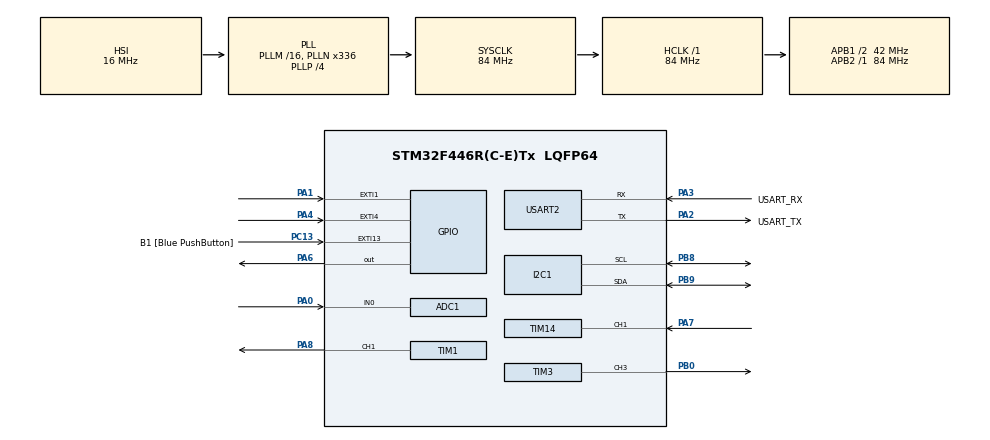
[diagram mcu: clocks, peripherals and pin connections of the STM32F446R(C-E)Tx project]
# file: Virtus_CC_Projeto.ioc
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ADC1.Channel-0\#ChannelRegularConversion=ADC_CHANNEL_0
ADC1.ClockPrescaler=ADC_CLOCK_SYNC_PCLK_DIV8
ADC1.ContinuousConvMode=ENABLE
ADC1.DMAContinuousRequests=ENABLE
ADC1.EOCSelection=ADC_EOC_SEQ_CONV
ADC1.NbrOfConversionFlag=1
ADC1.Rank-0\#ChannelRegularConversion=1
ADC1.SamplingTime-0\#ChannelRegularConversion=ADC_SAMPLETIME_3CYCLES
ADC1.ScanConvMode=ENABLE
ADC1.master=1
Dma.ADC1.0.Direction=DMA_PERIPH_TO_MEMORY
Dma.ADC1.0.FIFOMode=DMA_FIFOMODE_DISABLE
Dma.ADC1.0.Instance=DMA2_Stream0
Dma.ADC1.0.MemDataAlignment=DMA_MDATAALIGN_HALFWORD
Dma.ADC1.0.MemInc=DMA_MINC_ENABLE
Dma.ADC1.0.Mode=DMA_CIRCULAR
Dma.ADC1.0.PeriphDataAlignment=DMA_PDATAALIGN_HALFWORD
Dma.ADC1.0.PeriphInc=DMA_PINC_DISABLE
Dma.ADC1.0.Priority=DMA_PRIORITY_LOW
Dma.Request0=ADC1
I2C1.I2C_Mode=I2C_Fast
Mcu.Family=STM32F4
Mcu.Name=STM32F446R(C-E)Tx
Mcu.Package=LQFP64
NVIC.EXTI1_IRQn=true\:0\:0\:false\:false\:true\:true\:true\:true
NVIC.EXTI4_IRQn=true\:0\:0\:false\:false\:true\:true\:true\:true
NVIC.PriorityGroup=NVIC_PRIORITYGROUP_0
NVIC.TIM8_TRG_COM_TIM14_IRQn=true\:0\:0\:false\:false\:true\:true\:true\:true
PA0-WKUP.Signal=ADCx_IN0
PA1.GPIO_ModeDefaultEXTI=GPIO_MODE_IT_FALLING
PA1.GPIO_PuPd=GPIO_PULLUP
PA1.Signal=GPXTI1
PA13.GPIO_Label=TMS
PA13.Mode=Serial_Wire
PA13.Signal=SYS_JTMS-SWDIO
PA14.GPIO_Label=TCK
PA14.Mode=Serial_Wire
PA14.Signal=SYS_JTCK-SWCLK
PA2.GPIO_Label=USART_TX
PA2.Mode=Asynchronous
PA2.Signal=USART2_TX
PA3.GPIO_Label=USART_RX
PA3.Mode=Asynchronous
PA3.Signal=USART2_RX
PA4.GPIO_ModeDefaultEXTI=GPIO_MODE_IT_FALLING
PA4.GPIO_PuPd=GPIO_PULLUP
PA4.Signal=GPXTI4
PA6.Signal=GPIO_Output
PA7.Signal=S_TIM14_CH1
PA8.Signal=S_TIM1_CH1
PB0.Signal=S_TIM3_CH3
PB3.GPIO_Label=SWO
PB3.Signal=SYS_JTDO-SWO
PB8.Mode=I2C
PB8.Signal=I2C1_SCL
PB9.Mode=I2C
PB9.Signal=I2C1_SDA
PC13.GPIO_Label=B1 [Blue PushButton]
PC13.GPIO_ModeDefaultEXTI=GPIO_MODE_IT_FALLING
PC13.Signal=GPXTI13
PC14-OSC32_IN.Mode=LSE-External-Oscillator
PC14-OSC32_IN.Signal=RCC_OSC32_IN
PC15-OSC32_OUT.Mode=LSE-External-Oscillator
PC15-OSC32_OUT.Signal=RCC_OSC32_OUT
PH0-OSC_IN.Mode=HSE-External-Oscillator
PH0-OSC_IN.Signal=RCC_OSC_IN
PH1-OSC_OUT.Mode=HSE-External-Oscillator
PH1-OSC_OUT.Signal=RCC_OSC_OUT
ProjectManager.HeapSize=0x200
ProjectManager.StackSize=0x400
ProjectManager.TargetToolchain=STM32CubeIDE
RCC.48MHZClocksFreq_Value=84000000
RCC.AHBFreq_Value=84000000
RCC.APB1CLKDivider=RCC_HCLK_DIV2
RCC.APB1Freq_Value=42000000
RCC.APB1TimFreq_Value=84000000
RCC.APB2Freq_Value=84000000
RCC.APB2TimFreq_Value=84000000
RCC.CortexFreq_Value=84000000
RCC.FLatency-AdvancedSettings=FLASH_LATENCY_2
RCC.HCLKFreq_Value=84000000
RCC.HSE_VALUE=8000000
RCC.HSI_VALUE=16000000
RCC.PLLN=336
RCC.PLLP=RCC_PLLP_DIV4
RCC.SYSCLKFreq_VALUE=84000000
RCC.SYSCLKSource=RCC_SYSCLKSOURCE_PLLCLK
RCC.USBFreq_Value=168000000
RCC.VCOOutputFreq_Value=336000000
SH.ADCx_IN0.0=ADC1_IN0,IN0
SH.S_TIM14_CH1.0=TIM14_CH1,Input_Capture1_from_TI1
SH.S_TIM1_CH1.0=TIM1_CH1,PWM Generation1 CH1
SH.S_TIM3_CH3.0=TIM3_CH3,PWM Generation3 CH3
TIM1.Channel-PWM\ Generation1\ CH1=TIM_CHANNEL_1
TIM1.Period=20000
TIM1.Prescaler=84
TIM1.Pulse-PWM\ Generation1\ CH1=1000
TIM14.Channel=TIM_CHANNEL_1
TIM14.Prescaler=72
TIM3.Channel-PWM\ Generation3\ CH3=TIM_CHANNEL_3
TIM3.Period=65535
TIM3.Prescaler=127
USART2.VirtualMode=VM_ASYNC
VP_TIM14_VS_ClockSourceINT.Mode=Enable_Timer
VP_TIM3_VS_ClockSourceINT.Mode=Internal
board=NUCLEO-F446RE

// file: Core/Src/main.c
/* USER CODE BEGIN Header */
/**
  ******************************************************************************
  * @file           : main.c
  * @brief          : Main program body
  ******************************************************************************
  * @attention
  *
  * Copyright (c) 2024 STMicroelectronics.
  * All rights reserved.
  *
  * This software is licensed under terms that can be found in the LICENSE file
  * in the root directory of this software component.
  * If no LICENSE file comes with this software, it is provided AS-IS.
  *
  ******************************************************************************
  */
/* USER CODE END Header */
#include "main.h"

/* USER CODE BEGIN Includes */
#include <string.h>
#include <stdio.h>
#include <math.h>
#include <mpu6050.h>
#include <stdbool.h>
#include "stm32f4xx_hal.h"
#include "bmp280.h"
#include "fonts.h"
#include "ssd1306.h"

/* USER CODE END Includes */

/* USER CODE BEGIN PD */
#define TRIG_PIN GPIO_PIN_6
#define TRIG_PORT GPIOA
#define BMP280_ADDRESS 0x76
#define TSL2561_ADDR 0x39
/* USER CODE END PD */

ADC_HandleTypeDef hadc1;
DMA_HandleTypeDef hdma_adc1;

I2C_HandleTypeDef hi2c1;

TIM_HandleTypeDef htim1;
TIM_HandleTypeDef htim3;
TIM_HandleTypeDef htim14;

UART_HandleTypeDef huart2;

/* USER CODE BEGIN PV */
BMP280_HandleTypedef bmp280;
float altitudeBMP280 ,pressureBMP280, temperatureBMP280, humidityBMP280;

MPU6050_t MPU6050;
BMP280_HandleTypedef bmp280;
uint32_t IC_Val1 = 0;
uint32_t IC_Val2 = 0;
uint32_t Difference = 0;
uint8_t Is_First_Captured = 0;
uint16_t Distance  = 0;

uint16_t size;
char Data[50];
char Data1[20];
char Data2[20];

uint16_t adc_buffer[5] = {0};
float minus_temperature = 0;

uint8_t buttons = 0;
float minus_pressure = 0;
int adc_val = 0;

/* USER CODE END PV */

void SystemClock_Config(void);
static void MX_GPIO_Init(void);
static void MX_DMA_Init(void);
static void MX_USART2_UART_Init(void);
static void MX_I2C1_Init(void);
static void MX_TIM3_Init(void);
static void MX_TIM1_Init(void);
static void MX_TIM14_Init(void);
static void MX_ADC1_Init(void);
/* USER CODE BEGIN PFP */

void HCSR04_Read (void);
void modules_init(void);
void lcd_write_mpu(void);
void lcd_write_bmp(void);
void buzzer(uint16_t duty);
void servo_motor(uint16_t step);

/* USER CODE END PFP */

int main(void)
{

  /* MCU Configuration--------------------------------------------------------*/

  /* Reset of all peripherals, Initializes the Flash interface and the Systick. */
  HAL_Init();

  /* Configure the system clock */
  SystemClock_Config();

  /* Initialize all configured peripherals */
  MX_GPIO_Init();
  MX_DMA_Init();
  MX_USART2_UART_Init();
  MX_I2C1_Init();
  MX_TIM3_Init();
  MX_TIM1_Init();
  MX_TIM14_Init();
  MX_ADC1_Init();
  /* USER CODE BEGIN 2 */
  modules_init();

  /* USER CODE END 2 */

  /* Infinite loop */
  while (1)
  {

    /* USER CODE BEGIN 3 */

    bmp280_read_float(&bmp280, &temperatureBMP280, &pressureBMP280, &humidityBMP280 , &altitudeBMP280);
    MPU6050_Read_All(&hi2c1, &MPU6050);
    HCSR04_Read();

    if (buttons)
      lcd_write_mpu();
    else
      lcd_write_bmp();

    servo_motor(460 + 2140 * (pressureBMP280 + minus_pressure));

    if (Distance < 100)
      buzzer(Distance);
    else
      buzzer(0);

    adc_val = 0;
    for(int i = 0; i < 5; i++)
      adc_val += adc_buffer[i];
    adc_val /= 5;
    minus_temperature = (adc_val - 2050) / 400.0;
  }
  /* USER CODE END 3 */
}

void SystemClock_Config(void)
{
  RCC_OscInitTypeDef RCC_OscInitStruct = {0};
  RCC_ClkInitTypeDef RCC_ClkInitStruct = {0};

  /** Configure the main internal regulator output voltage
  */
  __HAL_RCC_PWR_CLK_ENABLE();
  __HAL_PWR_VOLTAGESCALING_CONFIG(PWR_REGULATOR_VOLTAGE_SCALE3);

  /** Initializes the RCC Oscillators according to the specified parameters
  * in the RCC_OscInitTypeDef structure.
  */
  RCC_OscInitStruct.OscillatorType = RCC_OSCILLATORTYPE_HSI;
  RCC_OscInitStruct.HSIState = RCC_HSI_ON;
  RCC_OscInitStruct.HSICalibrationValue = RCC_HSICALIBRATION_DEFAULT;
  RCC_OscInitStruct.PLL.PLLState = RCC_PLL_ON;
  RCC_OscInitStruct.PLL.PLLSource = RCC_PLLSOURCE_HSI;
  RCC_OscInitStruct.PLL.PLLM = 16;
  RCC_OscInitStruct.PLL.PLLN = 336;
  RCC_OscInitStruct.PLL.PLLP = RCC_PLLP_DIV4;
  RCC_OscInitStruct.PLL.PLLQ = 2;
  RCC_OscInitStruct.PLL.PLLR = 2;
  if (HAL_RCC_OscConfig(&RCC_OscInitStruct) != HAL_OK)
  {
    Error_Handler();
  }

  /** Initializes the CPU, AHB and APB buses clocks
  */
  RCC_ClkInitStruct.ClockType = RCC_CLOCKTYPE_HCLK|RCC_CLOCKTYPE_SYSCLK
                              |RCC_CLOCKTYPE_PCLK1|RCC_CLOCKTYPE_PCLK2;
  RCC_ClkInitStruct.SYSCLKSource = RCC_SYSCLKSOURCE_PLLCLK;
  RCC_ClkInitStruct.AHBCLKDivider = RCC_SYSCLK_DIV1;
  RCC_ClkInitStruct.APB1CLKDivider = RCC_HCLK_DIV2;
  RCC_ClkInitStruct.APB2CLKDivider = RCC_HCLK_DIV1;

  if (HAL_RCC_ClockConfig(&RCC_ClkInitStruct, FLASH_LATENCY_2) != HAL_OK)
  {
    Error_Handler();
  }
}

static void MX_ADC1_Init(void)
{

  ADC_ChannelConfTypeDef sConfig = {0};

  /** Configure the global features of the ADC (Clock, Resolution, Data Alignment and number of conversion)
  */
  hadc1.Instance = ADC1;
  hadc1.Init.ClockPrescaler = ADC_CLOCK_SYNC_PCLK_DIV8;
  hadc1.Init.Resolution = ADC_RESOLUTION_12B;
  hadc1.Init.ScanConvMode = ENABLE;
  hadc1.Init.ContinuousConvMode = ENABLE;
  hadc1.Init.DiscontinuousConvMode = DISABLE;
  hadc1.Init.ExternalTrigConvEdge = ADC_EXTERNALTRIGCONVEDGE_NONE;
  hadc1.Init.ExternalTrigConv = ADC_SOFTWARE_START;
  hadc1.Init.DataAlign = ADC_DATAALIGN_RIGHT;
  hadc1.Init.NbrOfConversion = 1;
  hadc1.Init.DMAContinuousRequests = ENABLE;
  hadc1.Init.EOCSelection = ADC_EOC_SEQ_CONV;
  if (HAL_ADC_Init(&hadc1) != HAL_OK)
  {
    Error_Handler();
  }

  /** Configure for the selected ADC regular channel its corresponding rank in the sequencer and its sample time.
  */
  sConfig.Channel = ADC_CHANNEL_0;
  sConfig.Rank = 1;
  sConfig.SamplingTime = ADC_SAMPLETIME_3CYCLES;
  if (HAL_ADC_ConfigChannel(&hadc1, &sConfig) != HAL_OK)
  {
    Error_Handler();
  }

}

static void MX_I2C1_Init(void)
{

  hi2c1.Instance = I2C1;
  hi2c1.Init.ClockSpeed = 400000;
  hi2c1.Init.DutyCycle = I2C_DUTYCYCLE_2;
  hi2c1.Init.OwnAddress1 = 0;
  hi2c1.Init.AddressingMode = I2C_ADDRESSINGMODE_7BIT;
  hi2c1.Init.DualAddressMode = I2C_DUALADDRESS_DISABLE;
  hi2c1.Init.OwnAddress2 = 0;
  hi2c1.Init.GeneralCallMode = I2C_GENERALCALL_DISABLE;
  hi2c1.Init.NoStretchMode = I2C_NOSTRETCH_DISABLE;
  if (HAL_I2C_Init(&hi2c1) != HAL_OK)
  {
    Error_Handler();
  }

}

static void MX_TIM1_Init(void)
{

  TIM_MasterConfigTypeDef sMasterConfig = {0};
  TIM_OC_InitTypeDef sConfigOC = {0};
  TIM_BreakDeadTimeConfigTypeDef sBreakDeadTimeConfig = {0};

  htim1.Instance = TIM1;
  htim1.Init.Prescaler = 84;
  htim1.Init.CounterMode = TIM_COUNTERMODE_UP;
  htim1.Init.Period = 20000;
  htim1.Init.ClockDivision = TIM_CLOCKDIVISION_DIV1;
  htim1.Init.RepetitionCounter = 0;
  htim1.Init.AutoReloadPreload = TIM_AUTORELOAD_PRELOAD_DISABLE;
  if (HAL_TIM_PWM_Init(&htim1) != HAL_OK)
  {
    Error_Handler();
  }
  sMasterConfig.MasterOutputTrigger = TIM_TRGO_RESET;
  sMasterConfig.MasterSlaveMode = TIM_MASTERSLAVEMODE_DISABLE;
  if (HAL_TIMEx_MasterConfigSynchronization(&htim1, &sMasterConfig) != HAL_OK)
  {
    Error_Handler();
  }
  sConfigOC.OCMode = TIM_OCMODE_PWM1;
  sConfigOC.Pulse = 1000;
  sConfigOC.OCPolarity = TIM_OCPOLARITY_HIGH;
  sConfigOC.OCNPolarity = TIM_OCNPOLARITY_HIGH;
  sConfigOC.OCFastMode = TIM_OCFAST_DISABLE;
  sConfigOC.OCIdleState = TIM_OCIDLESTATE_RESET;
  sConfigOC.OCNIdleState = TIM_OCNIDLESTATE_RESET;
  if (HAL_TIM_PWM_ConfigChannel(&htim1, &sConfigOC, TIM_CHANNEL_1) != HAL_OK)
  {
    Error_Handler();
  }
  sBreakDeadTimeConfig.OffStateRunMode = TIM_OSSR_DISABLE;
  sBreakDeadTimeConfig.OffStateIDLEMode = TIM_OSSI_DISABLE;
  sBreakDeadTimeConfig.LockLevel = TIM_LOCKLEVEL_OFF;
  sBreakDeadTimeConfig.DeadTime = 0;
  sBreakDeadTimeConfig.BreakState = TIM_BREAK_DISABLE;
  sBreakDeadTimeConfig.BreakPolarity = TIM_BREAKPOLARITY_HIGH;
  sBreakDeadTimeConfig.AutomaticOutput = TIM_AUTOMATICOUTPUT_DISABLE;
  if (HAL_TIMEx_ConfigBreakDeadTime(&htim1, &sBreakDeadTimeConfig) != HAL_OK)
  {
    Error_Handler();
  }
  HAL_TIM_MspPostInit(&htim1);

}

static void MX_TIM3_Init(void)
{

  TIM_ClockConfigTypeDef sClockSourceConfig = {0};
  TIM_MasterConfigTypeDef sMasterConfig = {0};
  TIM_OC_InitTypeDef sConfigOC = {0};

  htim3.Instance = TIM3;
  htim3.Init.Prescaler = 127;
  htim3.Init.CounterMode = TIM_COUNTERMODE_UP;
  htim3.Init.Period = 100-1;
  htim3.Init.ClockDivision = TIM_CLOCKDIVISION_DIV1;
  htim3.Init.AutoReloadPreload = TIM_AUTORELOAD_PRELOAD_DISABLE;
  if (HAL_TIM_Base_Init(&htim3) != HAL_OK)
  {
    Error_Handler();
  }
  sClockSourceConfig.ClockSource = TIM_CLOCKSOURCE_INTERNAL;
  if (HAL_TIM_ConfigClockSource(&htim3, &sClockSourceConfig) != HAL_OK)
  {
    Error_Handler();
  }
  if (HAL_TIM_PWM_Init(&htim3) != HAL_OK)
  {
    Error_Handler();
  }
  sMasterConfig.MasterOutputTrigger = TIM_TRGO_RESET;
  sMasterConfig.MasterSlaveMode = TIM_MASTERSLAVEMODE_DISABLE;
  if (HAL_TIMEx_MasterConfigSynchronization(&htim3, &sMasterConfig) != HAL_OK)
  {
    Error_Handler();
  }
  sConfigOC.OCMode = TIM_OCMODE_PWM1;
  sConfigOC.Pulse = 0;
  sConfigOC.OCPolarity = TIM_OCPOLARITY_HIGH;
  sConfigOC.OCFastMode = TIM_OCFAST_DISABLE;
  if (HAL_TIM_PWM_ConfigChannel(&htim3, &sConfigOC, TIM_CHANNEL_3) != HAL_OK)
  {
    Error_Handler();
  }
  HAL_TIM_MspPostInit(&htim3);

}

static void MX_TIM14_Init(void)
{

  TIM_IC_InitTypeDef sConfigIC = {0};

  htim14.Instance = TIM14;
  htim14.Init.Prescaler = 72;
  htim14.Init.CounterMode = TIM_COUNTERMODE_UP;
  htim14.Init.Period = 65535;
  htim14.Init.ClockDivision = TIM_CLOCKDIVISION_DIV1;
  htim14.Init.AutoReloadPreload = TIM_AUTORELOAD_PRELOAD_DISABLE;
  if (HAL_TIM_Base_Init(&htim14) != HAL_OK)
  {
    Error_Handler();
  }
  if (HAL_TIM_IC_Init(&htim14) != HAL_OK)
  {
    Error_Handler();
  }
  sConfigIC.ICPolarity = TIM_INPUTCHANNELPOLARITY_RISING;
  sConfigIC.ICSelection = TIM_ICSELECTION_DIRECTTI;
  sConfigIC.ICPrescaler = TIM_ICPSC_DIV1;
  sConfigIC.ICFilter = 0;
  if (HAL_TIM_IC_ConfigChannel(&htim14, &sConfigIC, TIM_CHANNEL_1) != HAL_OK)
  {
    Error_Handler();
  }

}

static void MX_USART2_UART_Init(void)
{

  huart2.Instance = USART2;
  huart2.Init.BaudRate = 115200;
  huart2.Init.WordLength = UART_WORDLENGTH_8B;
  huart2.Init.StopBits = UART_STOPBITS_1;
  huart2.Init.Parity = UART_PARITY_NONE;
  huart2.Init.Mode = UART_MODE_TX_RX;
  huart2.Init.HwFlowCtl = UART_HWCONTROL_NONE;
  huart2.Init.OverSampling = UART_OVERSAMPLING_16;
  if (HAL_UART_Init(&huart2) != HAL_OK)
  {
    Error_Handler();
  }

}

static void MX_DMA_Init(void)
{

  /* DMA controller clock enable */
  __HAL_RCC_DMA2_CLK_ENABLE();

}

static void MX_GPIO_Init(void)
{
  GPIO_InitTypeDef GPIO_InitStruct = {0};

  /* GPIO Ports Clock Enable */
  __HAL_RCC_GPIOC_CLK_ENABLE();
  __HAL_RCC_GPIOH_CLK_ENABLE();
  __HAL_RCC_GPIOA_CLK_ENABLE();
  __HAL_RCC_GPIOB_CLK_ENABLE();

  /*Configure GPIO pin Output Level */
  HAL_GPIO_WritePin(GPIOA, GPIO_PIN_6, GPIO_PIN_RESET);

  /*Configure GPIO pin : B1_Pin */
  GPIO_InitStruct.Pin = B1_Pin;
  GPIO_InitStruct.Mode = GPIO_MODE_IT_FALLING;
  GPIO_InitStruct.Pull = GPIO_NOPULL;
  HAL_GPIO_Init(B1_GPIO_Port, &GPIO_InitStruct);

  /*Configure GPIO pins : PA1 PA4 */
  GPIO_InitStruct.Pin = GPIO_PIN_1|GPIO_PIN_4;
  GPIO_InitStruct.Mode = GPIO_MODE_IT_FALLING;
  GPIO_InitStruct.Pull = GPIO_PULLUP;
  HAL_GPIO_Init(GPIOA, &GPIO_InitStruct);

  /*Configure GPIO pin : PA6 */
  GPIO_InitStruct.Pin = GPIO_PIN_6;
  GPIO_InitStruct.Mode = GPIO_MODE_OUTPUT_PP;
  GPIO_InitStruct.Pull = GPIO_NOPULL;
  GPIO_InitStruct.Speed = GPIO_SPEED_FREQ_LOW;
  HAL_GPIO_Init(GPIOA, &GPIO_InitStruct);

  /* EXTI interrupt init*/
  HAL_NVIC_SetPriority(EXTI1_IRQn, 0, 0);
  HAL_NVIC_EnableIRQ(EXTI1_IRQn);

  HAL_NVIC_SetPriority(EXTI4_IRQn, 0, 0);
  HAL_NVIC_EnableIRQ(EXTI4_IRQn);

}

/* USER CODE BEGIN 4 */

void servo_motor(uint16_t step)
{
  __HAL_TIM_SET_COMPARE(&htim1, TIM_CHANNEL_1, step);
}

void buzzer(uint16_t duty)
{
  __HAL_TIM_SET_AUTORELOAD(&htim3, duty * 2);
  __HAL_TIM_SET_COMPARE(&htim3, TIM_CHANNEL_3, duty);
  HAL_Delay(100);
}

void lcd_write_mpu(void)
{
  char buffer[50];
  SSD1306_Clear();

  sprintf(buffer, "Gx: %.1f", MPU6050.KalmanAngleX);
  SSD1306_GotoXY (1, 1);
  SSD1306_Puts (buffer, &Font_7x10, 1);

  sprintf(buffer, "Gy: %.1f", MPU6050.KalmanAngleY);
  SSD1306_GotoXY (1, 16);
  SSD1306_Puts (buffer, &Font_7x10, 1);

  sprintf(buffer, "Ax: %.1f", MPU6050.Ax);
  SSD1306_GotoXY (1, 27);
  SSD1306_Puts (buffer, &Font_7x10, 1);

  sprintf(buffer, "Ay: %.1f", MPU6050.Ay);
  SSD1306_GotoXY (1, 39);
  SSD1306_Puts (buffer , &Font_7x10, 1);

  sprintf(buffer, "Az: %.1f", MPU6050.Az);
  SSD1306_GotoXY (1, 50);
  SSD1306_Puts (buffer, &Font_7x10, 1);
  SSD1306_UpdateScreen();
}

void lcd_write_bmp(void)
{
  char buffer[50];
  SSD1306_Clear();

  sprintf(buffer, "Pressure: %.1f", pressureBMP280 + minus_pressure);
  SSD1306_GotoXY (1, 1);
  SSD1306_Puts (buffer, &Font_7x10, 1);

  sprintf(buffer, "Altitude: %.1f", altitudeBMP280);
  SSD1306_GotoXY (1, 16);
  SSD1306_Puts (buffer, &Font_7x10, 1);

  sprintf(buffer, "Temperature: %.1f", temperatureBMP280 + minus_temperature);
  SSD1306_GotoXY (1, 27);
  SSD1306_Puts (buffer, &Font_7x10, 1);

  sprintf(buffer, "Compressor: %d", (int)((minus_pressure) * -100));
  SSD1306_GotoXY (1, 39);
  SSD1306_Puts (buffer , &Font_7x10, 1);

  SSD1306_Puts ("%", &Font_7x10, 1);
  SSD1306_UpdateScreen();
}

void modules_init(void)
{
  MPU6050_Init(&hi2c1); // Mpu
  HAL_TIM_PWM_Start(&htim1, TIM_CHANNEL_1); // Servo
  HAL_TIM_IC_Start_IT(&htim14, TIM_CHANNEL_1); // Ultra
  HAL_TIM_PWM_Start(&htim3, TIM_CHANNEL_3); // Temperatura/Pressão
  SSD1306_Init();
  SSD1306_Clear();
  HAL_ADC_Start_DMA(&hadc1, &adc_buffer, 5);

  bmp280_init_default_params(&bmp280.params);
  bmp280.addr = BMP280_I2C_ADDRESS_0;
  bmp280.i2c = &hi2c1;
  while (!(bmp280_init(&bmp280, &bmp280.params)))
  {
    size = sprintf((char *)Data, "BMP280 initialization failed\n");
    HAL_UART_Transmit(&huart2, (char *)Data, strlen(Data), 10000);
    HAL_Delay(2000);
  }
}

void HCSR04_Read (void)
{
  HAL_GPIO_WritePin(TRIG_PORT, TRIG_PIN, GPIO_PIN_SET);  // pull the TRIG pin HIGH
  HAL_Delay(10);  // wait for 10 us
  HAL_GPIO_WritePin(TRIG_PORT, TRIG_PIN, GPIO_PIN_RESET);  // pull the TRIG pin low

  __HAL_TIM_ENABLE_IT(&htim14, TIM_IT_CC1);
}

void HAL_TIM_IC_CaptureCallback(TIM_HandleTypeDef *htim)
{
  if (htim->Channel == HAL_TIM_ACTIVE_CHANNEL_1)  // if the interrupt source is channel1
  {
    if (Is_First_Captured==0) // if the first value is not captured
    {
      IC_Val1 = HAL_TIM_ReadCapturedValue(htim, TIM_CHANNEL_1); // read the first value
      Is_First_Captured = 1;  // set the first captured as true
      // Now change the polarity to falling edge
      __HAL_TIM_SET_CAPTUREPOLARITY(htim, TIM_CHANNEL_1, TIM_INPUTCHANNELPOLARITY_FALLING);
    }

    else if (Is_First_Captured==1)   // if the first is already captured
    {
      IC_Val2 = HAL_TIM_ReadCapturedValue(htim, TIM_CHANNEL_1);  // read second value
      __HAL_TIM_SET_COUNTER(htim, 0);  // reset the counter

      if (IC_Val2 > IC_Val1)
      {
        Difference = IC_Val2-IC_Val1;
      }

      else if (IC_Val1 > IC_Val2)
      {
        Difference = (0xffff - IC_Val1) + IC_Val2;
      }

      Distance = Difference * .034/2;
      Is_First_Captured = 0; // set it back to false

      // set polarity to rising edge
      __HAL_TIM_SET_CAPTUREPOLARITY(htim, TIM_CHANNEL_1, TIM_INPUTCHANNELPOLARITY_RISING);
      __HAL_TIM_DISABLE_IT(&htim1, TIM_IT_CC1);
    }
  }
}

void HAL_GPIO_EXTI_Callback(uint16_t GPIO_Pin) {
  if (GPIO_Pin == GPIO_PIN_1)
  {
    buttons = ~buttons;
    if (buttons)
      lcd_write_mpu();
    else
      lcd_write_bmp();
  }
  else if (GPIO_Pin == GPIO_PIN_4)
  {
    minus_pressure -= 0.1;
    if (minus_pressure <= -1)
      minus_pressure = 0;
  }
}

/* USER CODE END 4 */

void Error_Handler(void)
{
  __disable_irq();
  while (1)
  {
  }
}
